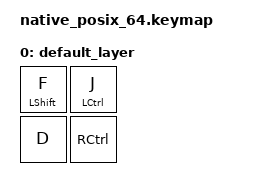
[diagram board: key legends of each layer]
#include <dt-bindings/zmk/keys.h>
#include <behaviors.dtsi>
#include <dt-bindings/zmk/kscan_mock.h>

/*
* A hold-tap with long tapping term is pressed first.
* A hold-tap with short tapping term is quickly tapped.
* The short tapping term hold-tap should 'tap', not 'hold'.
*/

/ {
    behaviors {
        tp_short: short_tap {
            compatible = "zmk,behavior-hold-tap";
            label = "MOD_TAP_SHORT";
            #binding-cells = <2>;
            flavor = "tap-preferred";
            tapping-term-ms = <100>;
            quick-tap-ms = <200>;
            bindings = <&kp>, <&kp>;
        };
        tp_long: long_tap {
            compatible = "zmk,behavior-hold-tap";
            label = "MOD_TAP_LONG";
            #binding-cells = <2>;
            flavor = "tap-preferred";
            tapping-term-ms = <200>;
            quick-tap-ms = <200>;
            bindings = <&kp>, <&kp>;
        };
    };

    keymap {
        compatible = "zmk,keymap";
        label ="Default keymap";

        default_layer {
            bindings = <
                &tp_long LEFT_SHIFT F &tp_short LEFT_CONTROL J
                &kp D &kp RIGHT_CONTROL>;
        };
    };
};


&kscan {
    events = <
        ZMK_MOCK_PRESS(0,0,20)
        ZMK_MOCK_PRESS(0,1,20)
        ZMK_MOCK_RELEASE(0,1,200)
        ZMK_MOCK_RELEASE(0,0,10)
    >;
};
